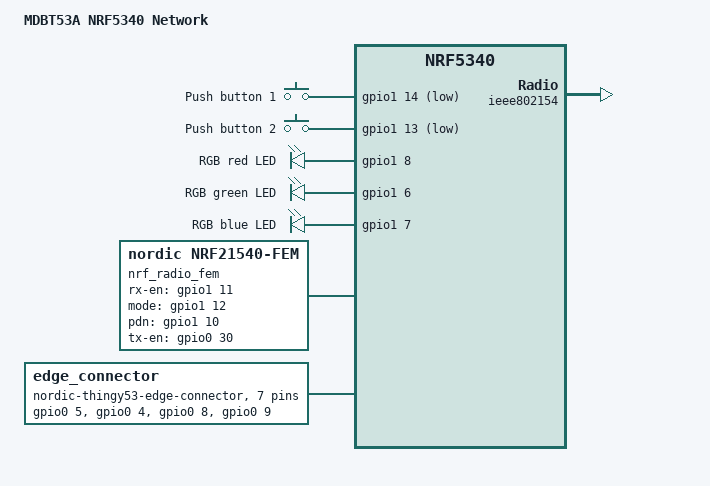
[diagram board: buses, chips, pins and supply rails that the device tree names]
/*
 * Copyright (c) 2021 Nordic Semiconductor ASA
 *
 * SPDX-License-Identifier: Apache-2.0
 */

/dts-v1/;
#include <nordic/nrf5340_cpunet_qkaa.dtsi>
#include "mdbt53a_nrf5340_cpunet-pinctrl.dtsi"
#include <zephyr/dt-bindings/input/input-event-codes.h>

/ {
	model = "MDBT53A NRF5340 Network";
	compatible = "switchscience,mdbt53a-nrf5340-cpunet";

	chosen {
		zephyr,console = &uart0;
		zephyr,shell-uart = &uart0;
		zephyr,uart-mcumgr = &uart0;
		zephyr,bt-mon-uart = &uart0;
		zephyr,bt-c2h-uart = &uart0;
		zephyr,bt-hci-ipc = &ipc0;
		nordic,802154-spinel-ipc = &ipc0;
		zephyr,sram = &sram1;
		zephyr,ieee802154 = &ieee802154;
	};

	buttons {
		compatible = "gpio-keys";
		button0: button_0 {
			gpios = <&gpio1 14 (GPIO_PULL_UP | GPIO_ACTIVE_LOW)>;
			label = "Push button 1";
			zephyr,code = <INPUT_KEY_0>;
		};
		button1: button_1 {
			gpios = <&gpio1 13 (GPIO_PULL_UP | GPIO_ACTIVE_LOW)>;
			label = "Push button 2";
			zephyr,code = <INPUT_KEY_1>;
		};
	};

	leds {
		compatible = "gpio-leds";
		red_led: led_1 {
			gpios = <&gpio1 8 (GPIO_PULL_DOWN | GPIO_ACTIVE_HIGH)>;
			label = "RGB red LED";
		};
		green_led: led_2 {
			gpios = <&gpio1 6 (GPIO_PULL_DOWN | GPIO_ACTIVE_HIGH)>;
			label = "RGB green LED";
		};
		blue_led: led_3 {
			gpios = <&gpio1 7 (GPIO_PULL_DOWN | GPIO_ACTIVE_HIGH)>;
			label = "RGB blue LED";
		};
	};

	nrf_radio_fem: fem {
		compatible = "nordic,nrf21540-fem";
		rx-en-gpios = <&gpio1 11 GPIO_ACTIVE_HIGH>;
		mode-gpios  = <&gpio1 12 GPIO_ACTIVE_HIGH>;
		pdn-gpios   = <&gpio1 10 GPIO_ACTIVE_HIGH>;
		tx-en-gpios = <&gpio0 30 GPIO_ACTIVE_HIGH>;
		supply-voltage-mv = <3000>;
	};

	edge_connector: connector {
		compatible = "nordic-thingy53-edge-connector";
		#gpio-cells = <2>;
		gpio-map-mask = <0xffffffff 0xffffffc0>;
		gpio-map-pass-thru = <0 0x3f>;
		gpio-map = <8 0 &gpio0 5 0>,	/* P8, P0.05/AIN1 */
			   <9 0 &gpio0 4 0>,	/* P9, P0.04/AIN0 */
			   <15 0 &gpio0 8 0>,	/* P15, P0.08/TRACEDATA3 */
			   <16 0 &gpio0 9 0>,	/* P16, P0.09/TRACEDATA2 */
			   <17 0 &gpio0 10 0>,	/* P17, P0.10/TRACEDATA1 */
			   <18 0 &gpio0 11 0>,	/* P18, P0.11/TRACEDATA0 */
			   <19 0 &gpio0 12 0>;	/* P19, P0.12/TRACECLK */
	};

	aliases {
		sw0 = &button0;
		sw1 = &button1;
		led0 = &red_led;
		led1 = &green_led;
		led2 = &blue_led;
		watchdog0 = &wdt;
	};
};

&gpiote {
	status = "okay";
};

&gpio0 {
	status = "okay";
};

&gpio1 {
	status = "okay";
};

&uart0 {
	compatible = "nordic,nrf-uarte";
	status = "disabled";
	current-speed = <115200>;
	pinctrl-0 = <&uart0_default>;
	pinctrl-1 = <&uart0_sleep>;
	pinctrl-names = "default", "sleep";
};

&ieee802154 {
	status = "okay";
};

/* Include shared RAM configuration file */
#include "mdbt53a_nrf5340_shared_sram_planning_conf.dtsi"
